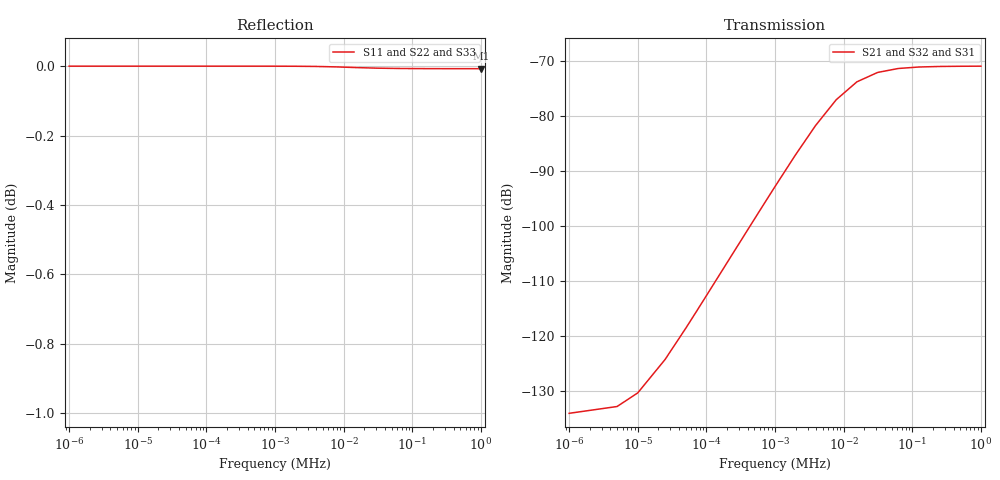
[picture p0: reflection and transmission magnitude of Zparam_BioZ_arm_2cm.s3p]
# MHz Z RI R 50
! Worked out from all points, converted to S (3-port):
!   21 points, 1 Hz to 1 MHz, reference 50 ohm
!   strongest paths, dB at 1 Hz, 75 Hz, 976.6 Hz, 31.25 kHz, 1 MHz:
!     S21: -134.0, -115.1, -93.1, -72.2, -71.0
!     S32: -134.0, -115.1, -93.1, -72.3, -71.1
!     S31: -134.0, -115.1, -93.1, -72.5, -71.1
!   lowest |S11| = 0.0 dB at 1 MHz (marker M1)
!   |S11| at or under -10 dB: nowhere
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1e-06  4.978e+06 -5.845e+05  2.489e+06 -2.923e+05  2.489e+06 -2.923e+05
       2.489e+06 -2.923e+05  4.978e+06 -5.845e+05  2.489e+06 -2.923e+05
       2.489e+06 -2.923e+05  2.489e+06 -2.923e+05  4.978e+06 -5.845e+05
0.00195313  4985 -2.257e+04  2520 -1.129e+04  2465 -1.129e+04
            2520 -1.129e+04  4953 -2.257e+04  2476 -1.128e+04
            2465 -1.129e+04  2476 -1.128e+04  4898 -2.257e+04
0.00390625  4546 -1.148e+04  2299 -5738  2248 -5739
            2299 -5738  4516 -1.148e+04  2258 -5738
            2248 -5739  2258 -5738  4464 -1.148e+04
0.0078125  4248 -5891  2149 -2946  2100 -2945
           2149 -2946  4219 -5889  2109 -2945
           2100 -2945  2109 -2945  4170 -5888
0.015625  4030 -3061  2038 -1532  1992 -1529
          2038 -1532  4001 -3058  2001 -1529
          1992 -1529  2001 -1529  3956 -3055
0.03125  3869 -1609  1955 -807.7  1914 -801.3
         1955 -807.7  3843 -1605  1921 -802.2
         1914 -801.3  1921 -802.2  3802 -1598
0.0625  3755 -851.2  1894 -430.3  1861 -421
        1894 -430.3  3733 -845.2  1866 -422.6
        1861 -421  1866 -422.6  3700 -836
0.125  3678 -448.5  1851 -229.1  1827 -219.4
       1851 -229.1  3661 -441.8  1830 -220.9
       1827 -219.4  1830 -220.9  3637 -432.2
0.25  3629 -232.2  1822 -119.8  1807 -112.4
      1822 -119.8  3617 -226.8  1808 -113.4
      1807 -112.4  1808 -113.4  3601 -219.4
1  3582 -60.2  1795 -31.38  1787 -28.81
   1795 -31.38  3576 -58.21  1788 -29.1
   1787 -28.81  1788 -29.1  3569 -55.64
